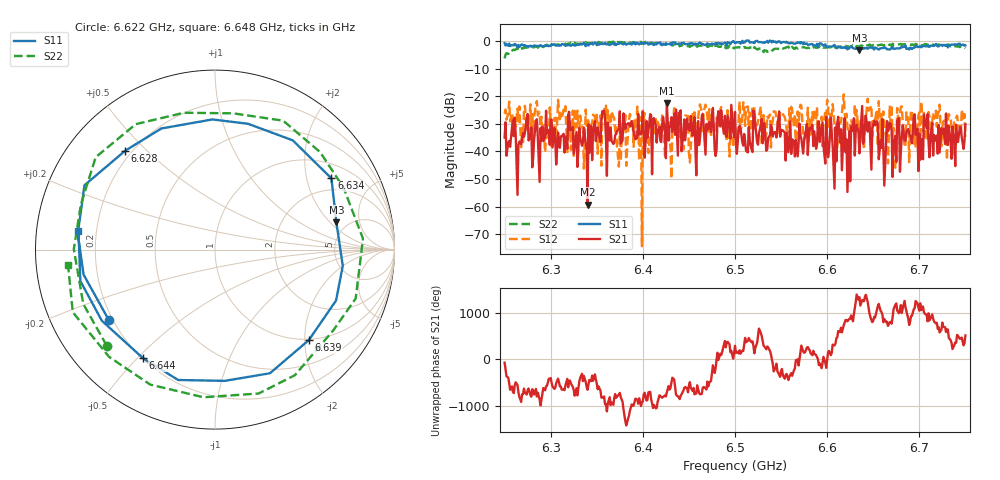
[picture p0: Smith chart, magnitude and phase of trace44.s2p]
# Hz S RI R 50
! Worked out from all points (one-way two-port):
!   401 points, 6.25 GHz to 6.75 GHz, reference 50 ohm
!   highest |S21| = -22.46 dB at 6.426 GHz (marker M1); lowest = -59.2 dB at 6.34 GHz (marker M2)
!   lowest |S11| = -3.2 dB at 6.635 GHz (marker M3), VSWR 5.52, Z = 203 + j119 ohm
!   |S11| at or under -10 dB: nowhere
!   |S22| runs from -6.3 to -0.2 dB; largest |S21 - S12| = 0.11
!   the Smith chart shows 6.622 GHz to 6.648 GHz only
!   S11 on the Smith chart (normalised r, x): 6.622 GHz: 0.18, -0.29; 6.628 GHz: 0.17, +0.43; 6.634 GHz: 1.50, +2.82; 6.639 GHz: 0.98, -2.09; 6.644 GHz: 0.20, -0.52; 6.648 GHz: 0.13, +0.07
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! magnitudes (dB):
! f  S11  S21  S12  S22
! 6.25 GHz  -0.7  -35.0  -26.2  -6.3
! 6.334 GHz  -1.2  -37.9  -31.3  -0.9
! 6.34 GHz  -1.3  -59.2  -30.2  -0.7
! 6.358 GHz  -1.0  -25.3  -24.0  -0.5
! 6.398 GHz  -0.8  -33.7  -27.6  -0.3
! 6.402 GHz  -0.9  -42.3  -26.2  -0.4
! 6.418 GHz  -0.7  -31.0  -30.8  -0.6
! 6.426 GHz  -1.2  -22.5  -34.6  -1.1
! 6.465 GHz  -1.0  -26.4  -32.6  -1.6
! 6.5 GHz  -0.8  -25.7  -31.4  -2.4
! 6.511 GHz  -0.4  -36.3  -30.8  -2.5
! 6.584 GHz  -1.1  -30.4  -25.8  -2.6
! 6.622 GHz  -3.0  -54.7  -31.5  -1.9
! 6.628 GHz  -2.6  -32.5  -31.5  -1.5
! 6.634 GHz  -2.4  -33.1  -32.2  -2.0
! 6.635 GHz  -3.2  -40.7  -29.5  -2.0
! 6.639 GHz  -2.8  -37.1  -35.3  -2.0
! 6.644 GHz  -2.8  -32.8  -20.9  -1.6
! 6.648 GHz  -2.3  -46.6  -23.3  -1.7
! 6.668 GHz  -3.1  -29.8  -23.4  -1.2
! 6.701 GHz  -1.9  -43.0  -38.0  -1.4
! 6.75 GHz  -1.6  -30.2  -34.7  -2.6
